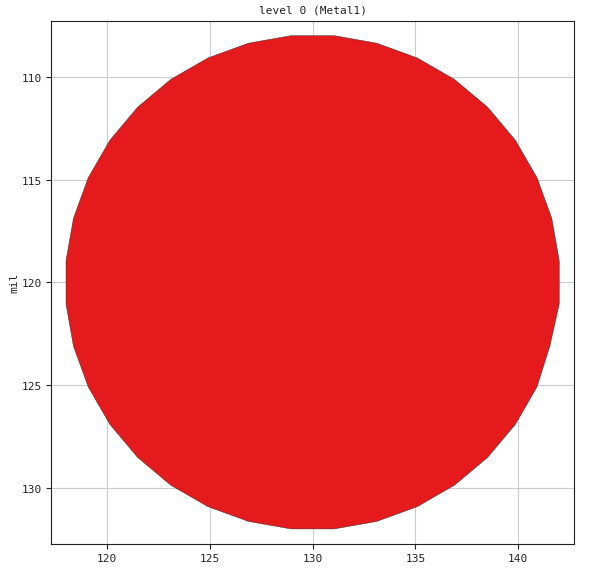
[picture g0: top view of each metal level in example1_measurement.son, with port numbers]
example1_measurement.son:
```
FTYP SONPROJ 19 ! Sonnet Project File
VER 18.53
HEADER
LIC SL632eddd3
DAT 10/18/2022 17:06:29
BUILT_BY_CREATED xgeom 18.53-Lite 10/18/2022 16:55:29
BUILT_BY_SAVED sonnet 18.53-Lite
MDATE 10/18/2022 17:06:29
HDATE 10/18/2022 17:06:29
END HEADER
DIM
ANG DEG
CAP PF
CON /OH
FREQ GHZ
IND NH
LNG MIL
RES OH
END DIM
CONTROL
VARSWP
OPTIONS  -d
SPEED 0
CACHE_ABS 2
Q_ACC N
END CONTROL
GEO
TMET "Lossless" 0 SUP 0 0 0 0
BMET "Lossless" 0 SUP 0 0 0 0
BOX 1 350 250 700 500 20 0
      0 1 1 0 0 0 0 "Air"
      0 1 1 0 0 0 0 "Substrate"
TECHLAY METAL Metal1 <UNSPECIFIED> -2 -65534 
0 0 -1 N 9 1 1 100 100 0 0 0 Y
END
END
VALVAR lk LNG 14.753078373988 "Dim. Param."
VALVAR kjhl LNG 24.09167610104 "Dim. Param."
LORGN 0 250 U 
NUM 1
0 39 -1 N 15 1 1 100 100 0 0 0 Y
TLAYNAM Metal1 INH
142 121.049864
141.5468338 123.0939648
140.9172368 125.0907911
139.8673729 126.9092089
138.5176938 128.5176938
136.9092089 129.8673729
135.0907911 130.9172368
133.1176923 131.6353861
131.049864 132
128.950136 132
126.8823077 131.6353861
124.9092089 130.9172368
123.0907911 129.8673729
121.4823062 128.5176938
120.1326271 126.9092089
119.0827632 125.0907911
118.3646139 123.1176923
118 121.049864
118 118.950136
118.3646139 116.8823077
119.0827632 114.9092089
120.1326271 113.0907911
121.4823062 111.4823062
123.0907911 110.1326271
124.9092089 109.0827632
126.8823077 108.3646139
128.950136 108
131.049864 108
133.1176923 108.3646139
135.0907911 109.0827632
136.9092089 110.1326271
138.5176938 111.4823062
139.8673729 113.0907911
140.9172368 114.9092089
141.6353861 116.8823077
142 118.950136
142 121.049864
142 121.049864
142 121.049864
END
END GEO
OPT
MAX 100
END OPT
VARSWP
ENABLED Y
FREQ Y AY ABS_ENTRY UNK 
VAR kjhl N 24.0916761 24.0916761 UNDEF
END
END VARSWP
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```
